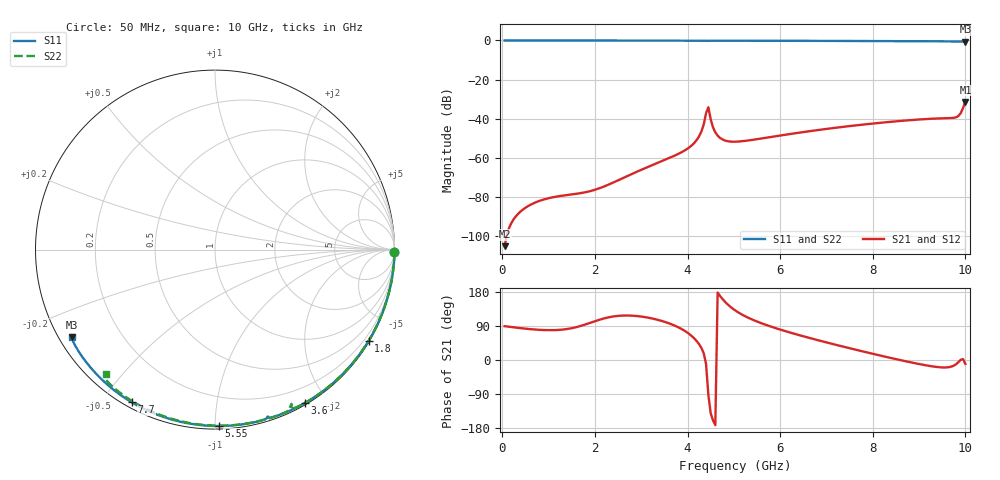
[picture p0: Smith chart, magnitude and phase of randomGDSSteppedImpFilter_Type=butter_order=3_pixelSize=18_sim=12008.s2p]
! freq	dB(S11)	phase(S11)	dB(S12)	phase(S12)
!  dB(S21)	phase(S21)	dB(S22)	phase(S22)
!S-par simulation data
#  GHz  S  DB  R 50
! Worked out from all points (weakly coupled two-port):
!   200 points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, 50 MHz to 10 GHz, reference 50 ohm
!   highest |S21| = -31.41 dB at 10 GHz (marker M1); lowest = -105.0 dB at 50 MHz (marker M2)
!   lowest |S11| = -0.6 dB at 10 GHz (marker M3), VSWR 29.49, Z = 1.83 - j14.1 ohm
!   |S11| at or under -10 dB: nowhere
!   |S22| runs from -0.7 to 0.0 dB; largest |S21 - S12| = 0
!   S11 on the Smith chart (normalised r, x): 50 MHz: open; 1.8 GHz: 0.03, -3.65; 3.6 GHz: 0.02, -1.74; 5.55 GHz: 0.02, -1.02; 7.7 GHz: 0.02, -0.59; 10 GHz: 0.04, -0.28
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0.05  -0.00 -0.9  -104.96 89.2  -104.96 89.2  -0.00 -0.8
1.1  -0.02 -18.9  -79.97 78.8  -79.97 78.8  -0.02 -16.6
1.75  -0.04 -29.8  -77.66 92.0  -77.66 92.0  -0.03 -26.3
1.8  -0.04 -30.6  -77.42 94.0  -77.42 94.0  -0.03 -27.0
3.4  -0.08 -56.6  -62.04 104.6  -62.04 104.6  -0.07 -50.0
3.6  -0.08 -59.7  -60.05 96.8  -60.05 96.8  -0.07 -52.8
4  -0.09 -66.0  -55.21 71.9  -55.21 71.9  -0.08 -58.4
4.2  -0.10 -69.1  -50.72 49.6  -50.72 49.6  -0.09 -61.3
4.3  -0.11 -70.7  -46.41 31.7  -46.41 31.7  -0.10 -62.8
4.45  -0.22 -72.4  -34.07 -92.1  -34.07 -92.1  -0.36 -63.7
4.5  -0.14 -73.1  -40.26 -140.4  -40.26 -140.4  -0.16 -64.2
4.55  -0.12 -74.0  -44.34 -159.3  -44.34 -159.3  -0.12 -65.2
4.65  -0.12 -75.6  -48.54 178.1  -48.54 178.1  -0.11 -66.7
4.8  -0.12 -77.9  -50.99 154.8  -50.99 154.8  -0.11 -68.9
5.05  -0.13 -81.6  -51.62 129.3  -51.62 129.3  -0.11 -72.2
5.55  -0.15 -88.9  -50.19 99.1  -50.19 99.1  -0.13 -78.7
6.7  -0.21 -105.0  -46.08 56.0  -46.08 56.0  -0.18 -93.2
7.7  -0.27 -118.5  -43.15 25.1  -43.15 25.1  -0.24 -105.2
8.35  -0.33 -127.2  -41.58 6.4  -41.58 6.4  -0.29 -112.9
9.8  -0.51 -146.4  -39.18 -11.1  -39.18 -11.1  -0.48 -129.8
9.9  -0.55 -147.7  -37.07 0.7  -37.07 0.7  -0.55 -131.0
10  -0.59 -148.5  -31.41 -10.5  -31.41 -10.5  -0.68 -131.2
